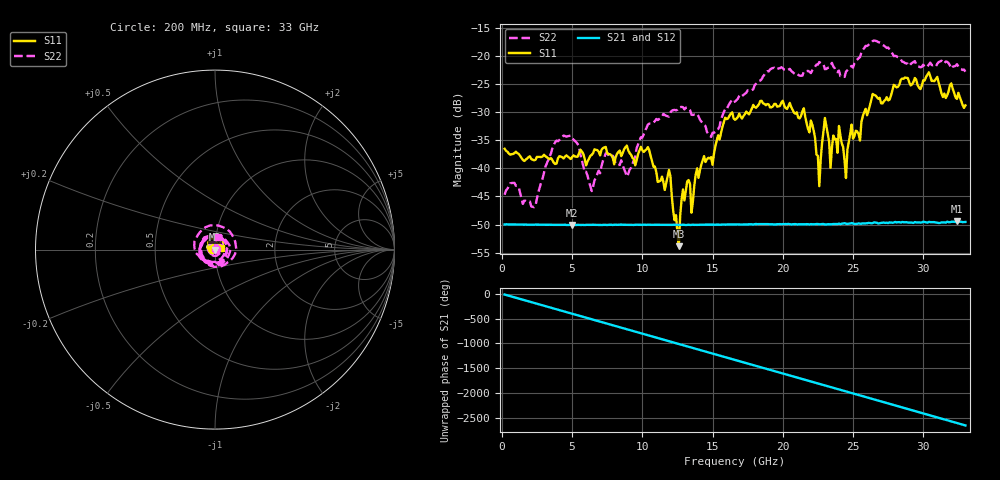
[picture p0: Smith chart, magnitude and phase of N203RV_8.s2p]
# GHZ S RI R 50
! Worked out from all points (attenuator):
!   329 points, 200 MHz to 33 GHz, reference 50 ohm
!   highest |S21| = -49.45 dB at 32.4 GHz (marker M1); lowest = -50.1 dB at 5 GHz (marker M2)
!   lowest |S11| = -53.8 dB at 12.6 GHz (marker M3), VSWR 1.00, Z = 49.8 - j0.0715 ohm
!   |S11| at or under -10 dB: start of sweep to end of sweep
!   |S22| runs from -46.9 to -17.2 dB; largest |S21 - S12| = 7.2e-05
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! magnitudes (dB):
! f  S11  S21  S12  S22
! 200 MHz  -36.5  -50.0  -49.9  -44.7
! 2.3 GHz  -38.6  -50.0  -50.0  -46.9
! 5 GHz  -38.0  -50.1  -50.1  -34.4
! 5.7 GHz  -37.0  -50.1  -50.0  -38.6
! 8.9 GHz  -35.9  -50.0  -50.0  -41.5
! 11.2 GHz  -42.3  -50.0  -50.0  -31.2
! 11.9 GHz  -40.3  -50.1  -50.0  -30.8
! 12.6 GHz  -53.8  -50.1  -50.0  -29.2
! 12.9 GHz  -43.7  -50.0  -50.0  -29.1
! 13.5 GHz  -47.9  -50.1  -50.0  -30.4
! 13.9 GHz  -40.0  -50.1  -50.0  -30.3
! 16.6 GHz  -31.4  -50.0  -50.0  -28.1
! 22.1 GHz  -32.2  -49.9  -49.9  -22.5
! 22.6 GHz  -43.2  -50.0  -49.9  -21.1
! 23 GHz  -31.0  -50.0  -49.9  -22.3
! 23.4 GHz  -39.9  -50.0  -49.9  -21.7
! 24 GHz  -32.5  -49.8  -49.9  -22.6
! 24.5 GHz  -41.7  -49.8  -49.8  -22.8
! 24.9 GHz  -32.2  -49.7  -49.8  -21.8
! 27.6 GHz  -27.8  -49.6  -49.6  -18.8
! 32.4 GHz  -27.6  -49.5  -49.5  -21.5
! 33 GHz  -28.8  -49.5  -49.5  -22.8
